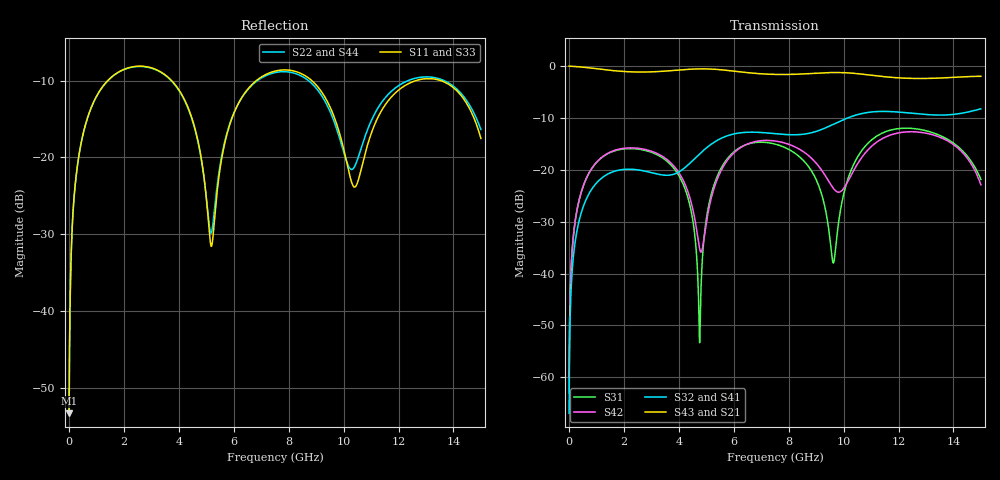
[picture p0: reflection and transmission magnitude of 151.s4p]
! Created with skrf 1.8.0 (http://scikit-rf.org).
# GHz S RI R 50.0
!freq ReS11 ImS11 ReS12 ImS12 ReS13 ImS13
! ReS14 ImS14
! ReS21 ImS21 ReS22 ImS22 ReS23 ImS23
! ReS24 ImS24
! ReS31 ImS31 ReS32 ImS32 ReS33 ImS33
! ReS34 ImS34
! ReS41 ImS41 ReS42 ImS42 ReS43 ImS43
! ReS44 ImS44
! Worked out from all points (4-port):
!   2499 points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, 5 MHz to 15 GHz, reference 50 ohm
!   strongest paths, dB at 5 MHz, 3.476 GHz, 7.19 GHz, 11.1 GHz, 15 GHz:
!     S43: 0.0, -1.0, -1.5, -1.8, -2.0
!     S21: 0.0, -1.0, -1.5, -1.8, -2.0
!     S32: -66.9, -21.0, -12.9, -8.8, -8.2
!     S41: -66.9, -21.1, -12.9, -8.8, -8.3
!     S42: -62.9, -17.7, -14.3, -15.1, -22.9
!     S31: -62.9, -18.0, -14.7, -13.9, -21.9
!   lowest |S11| = -53.3 dB at 5 MHz (marker M1), VSWR 1.00, Z = 50.2 + j0.132 ohm
!   |S11| at or under -10 dB: 3.733 GHz to 6.827 GHz (3.094 GHz wide, 58.6 % of centre); 8.837 GHz to 12.65 GHz (3.809 GHz wide, 35.5 % of centre); 13.53 GHz to end of sweep (the widest 3 of 4)
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0.005  0.00173 0.00131  0.9982 -0.00337  8.8e-05 0.000709  -8.54e-05 -0.000441
       0.9982 -0.00337  0.00173 0.00131  -8.54e-05 -0.000441  8.81e-05 0.000709
       8.8e-05 0.000709  -8.54e-05 -0.000441  0.00173 0.00131  0.9982 -0.00337
       -8.54e-05 -0.000441  8.81e-05 0.000709  0.9982 -0.00337  0.00173 0.00131
1.569404  0.2904 0.1675  0.5039 -0.754  0.1368 0.0603  -0.095 0.00163
          0.5039 -0.754  0.2888 0.1687  -0.0951 0.00175  0.141 0.0539
          0.1368 0.0603  -0.0951 0.00175  0.2903 0.1676  0.5039 -0.754
          -0.095 0.00163  0.141 0.0539  0.5039 -0.754  0.2888 0.1686
4.75198  0.0516 -0.1027  -0.8841 -0.3189  0.00225 -0.000427  -0.0443 0.1348
         -0.8841 -0.3189  0.0568 -0.0976  -0.0431 0.1352  -0.0154 -0.00882
         0.00225 -0.000427  -0.0431 0.1352  0.0505 -0.1026  -0.8842 -0.3189
         -0.0443 0.1348  -0.0154 -0.00882  -0.8842 -0.3189  0.0576 -0.0969
7.99083  0.3679 -0.0344  -0.0198 0.8303  0.1443 -0.0641  0.2085 -0.0578
         -0.0198 0.8303  0.3585 -0.0233  0.2093 -0.0619  0.1444 -0.1017
         0.1443 -0.0641  0.2093 -0.0619  0.3675 -0.029  -0.0203 0.8302
         0.2085 -0.0578  0.1444 -0.1017  -0.0203 0.8302  0.3594 -0.0284
9.622759  0.1266 -0.1419  0.6973 0.5151  -0.0121 -0.00378  0.16 -0.223
          0.6973 0.5151  0.1345 -0.1153  0.1544 -0.2269  -0.0531 -0.0403
          -0.0121 -0.00378  0.1544 -0.2269  0.1324 -0.1382  0.6967 0.5159
          0.16 -0.223  -0.0531 -0.0403  0.6967 0.5159  0.1292 -0.1199
10.72322  0.0829 0.0487  0.8316 -0.0495  0.0752 0.1425  -0.0394 -0.3499
          0.8316 -0.0495  0.1095 0.0654  -0.0467 -0.3482  0.028 0.1355
          0.0752 0.1425  -0.0467 -0.3482  0.0881 0.0462  0.8319 -0.0481
          -0.0394 -0.3499  0.028 0.1355  0.8319 -0.0481  0.1033 0.0659
15  0.0818 -0.1047  -0.6366 -0.4784  -0.0188 -0.0785  -0.22 0.3181
    -0.6366 -0.4784  0.1066 -0.1082  -0.2102 0.3251  0.0152 -0.0702
    -0.0188 -0.0785  -0.2102 0.3251  0.0816 -0.1002  -0.6362 -0.4799
    -0.22 0.3181  0.0152 -0.0702  -0.6362 -0.4799  0.1038 -0.1073
